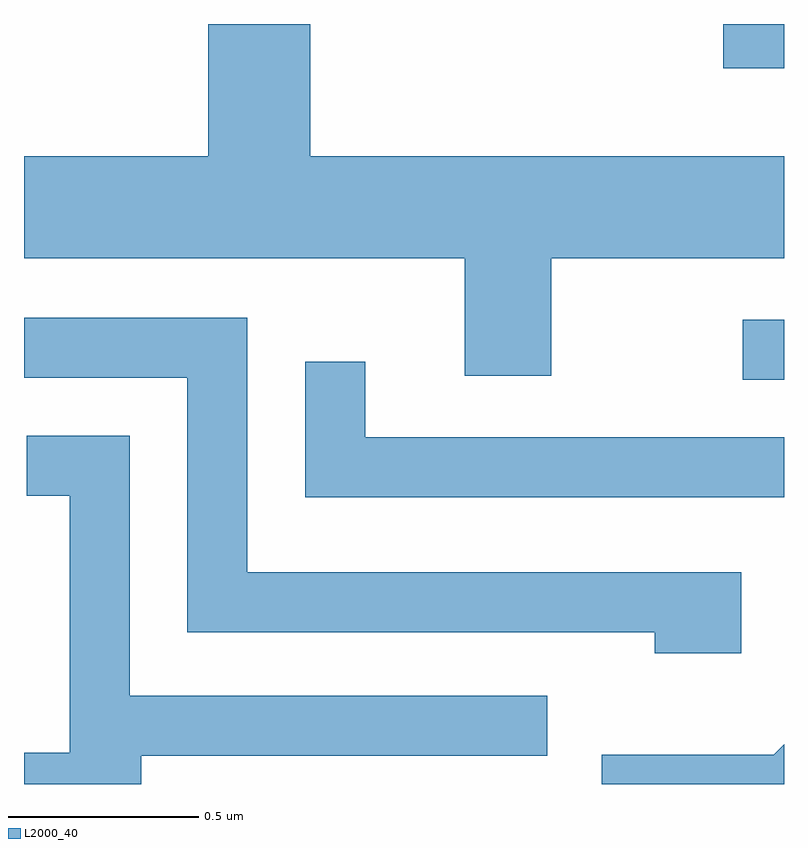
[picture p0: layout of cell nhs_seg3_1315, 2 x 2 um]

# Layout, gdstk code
import gdstk
lib = gdstk.Library(unit=1e-6, precision=1e-09)
def R(c, l, rs):  # rectangles x0, y0, x1, y1
    for r in rs: c.add(gdstk.rectangle(r[:2], r[2:], *l))
def P(c, l, *ps):  # polygons
    for p in ps: c.add(gdstk.Polygon(p, *l))
L2000_40 = (2000, 40)

nhs_seg3_1315 = lib.new_cell('nhs_seg3_1315')
R(nhs_seg3_1315, L2000_40, [(196.503,1198.956,196.611,1199.114), (196.451,1199.776,196.611,1199.892)])
P(nhs_seg3_1315, L2000_40, [(195.999,1199.276),(196.611,1199.276),(196.611,1199.544),(195.364,1199.544),(195.364,1199.892),(195.096,1199.892),(195.096,1199.544),(194.611,1199.544),(194.611,1199.276),(195.771,1199.276),(195.771,1198.966),(195.999,1198.966)],
  [(196.499,1198.449),(195.199,1198.449),(195.199,1199.119),(194.611,1199.119),(194.611,1198.961),(195.041,1198.961),(195.041,1198.291),(196.271,1198.291),(196.271,1198.236),(196.499,1198.236)],
  [(196.611,1198.804),(195.509,1198.804),(195.509,1199.003),(195.351,1199.003),(195.351,1198.646),(196.611,1198.646)],
  [(194.919,1197.966),(195.988,1197.966),(195.988,1198.124),(194.889,1198.124),(194.889,1198.809),(194.618,1198.809),(194.618,1198.651),(194.731,1198.651),(194.731,1197.974),(194.611,1197.974),(194.611,1197.892),(194.919,1197.892)],
  [(196.611,1197.996),(196.584,1197.969),(196.131,1197.969),(196.131,1197.892),(196.611,1197.892)])

lib.write_gds('nhs_seg3_1315.gds')
